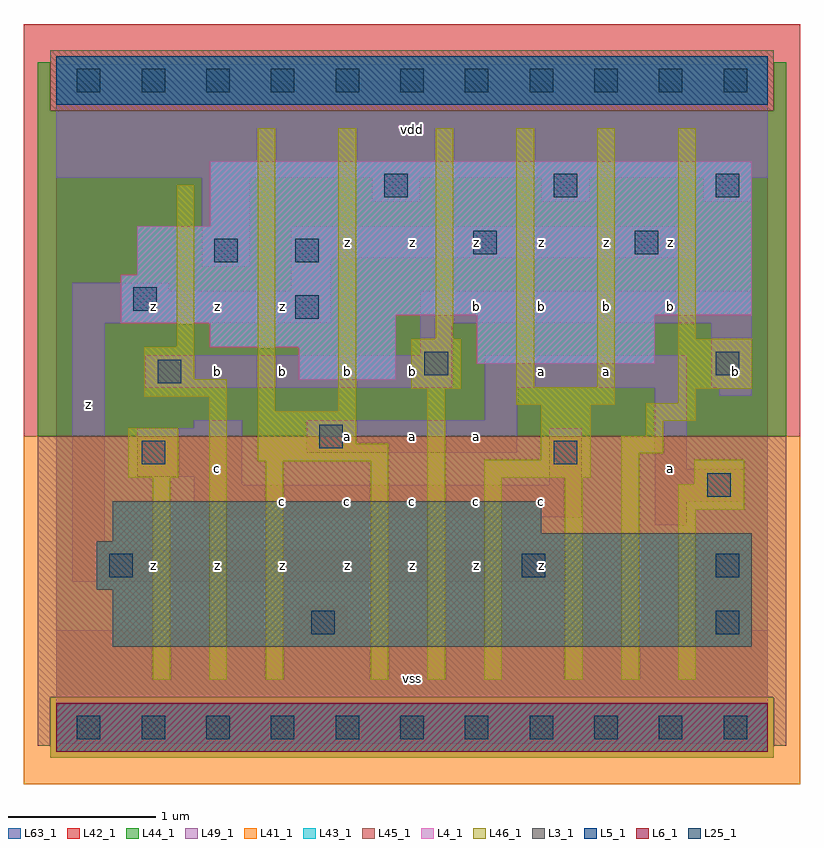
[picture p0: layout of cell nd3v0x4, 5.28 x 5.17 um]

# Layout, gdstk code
import gdstk
lib = gdstk.Library(unit=1e-6, precision=1e-09)
def R(c, l, rs):  # rectangles x0, y0, x1, y1
    for r in rs: c.add(gdstk.rectangle(r[:2], r[2:], *l))
def A(c, l, x, y, w, h, nx, ny, dx, dy):  # array of equal rectangles
    R(c, l, [(x+i*dx, y+j*dy, x+i*dx+w, y+j*dy+h) for i in range(nx) for j in range(ny)])
L3_1 = (3, 1)
L4_1 = (4, 1)
L5_1 = (5, 1)
L6_1 = (6, 1)
L25_1 = (25, 1)
L41_1 = (41, 1)
L42_1 = (42, 1)
L43_1 = (43, 1)
L44_1 = (44, 1)
L45_1 = (45, 1)
L46_1 = (46, 1)
L49_1 = (49, 1)
L63_1 = (63, 1)

nd3v0x4 = lib.new_cell('nd3v0x4')
R(nd3v0x4, L3_1, [(0.385,0.55,4.73,0.935), (0.275,0.935,4.73,1.265), (0.385,1.265,4.73,1.32), (0.385,1.32,3.3,1.54)])
R(nd3v0x4, L4_1, [(1.65,2.365,2.31,2.585), (2.86,2.475,4.07,2.805), (1.045,2.585,2.31,2.75), (0.44,2.75,2.31,2.805), (0.44,2.805,4.73,3.08), (0.55,3.08,4.73,3.41), (1.045,3.41,4.73,3.85)])
R(nd3v0x4, L5_1, [(0,4.235,4.84,4.565)])
R(nd3v0x4, L6_1, [(0,-0.165,4.84,0.165)])
A(nd3v0x4, L25_1, 0.14, -0.08, 0.16, 0.16, 11, 2, 0.44, 4.4)
R(nd3v0x4, L25_1, [(1.735,0.635,1.895,0.795), (4.485,0.635,4.645,0.795), (0.36,1.02,0.52,1.18), (3.165,1.02,3.325,1.18), (4.485,1.02,4.645,1.18), (4.43,1.57,4.59,1.73), (0.58,1.79,0.74,1.95), (3.385,1.79,3.545,1.95), (1.79,1.9,1.95,2.06), (0.69,2.34,0.85,2.5), (2.505,2.395,2.665,2.555), (4.485,2.395,4.645,2.555), (1.625,2.78,1.785,2.94), (0.525,2.835,0.685,2.995), (1.075,3.165,1.235,3.325), (1.625,3.165,1.785,3.325), (2.835,3.22,2.995,3.38), (3.935,3.22,4.095,3.38), (2.23,3.605,2.39,3.765), (3.385,3.605,3.545,3.765), (4.485,3.605,4.645,3.765)])
R(nd3v0x4, L41_1, [(-0.22,-0.385,5.06,1.98)])
R(nd3v0x4, L42_1, [(-0.22,1.98,5.06,4.785)])
R(nd3v0x4, L43_1, [(0,-0.165,4.84,0.165), (0.385,0.55,4.73,0.935), (0.275,0.935,4.73,1.265), (0.385,1.265,4.73,1.32), (0.385,1.32,3.3,1.54), (1.65,2.365,2.31,2.585), (2.86,2.475,4.07,2.805), (1.045,2.585,2.31,2.75), (0.44,2.75,2.31,2.805), (0.44,2.805,4.73,3.08), (0.55,3.08,4.73,3.41), (1.045,3.41,4.73,3.85), (0,4.235,4.84,4.565)])
R(nd3v0x4, L44_1, [(-0.04,-0.205,4.88,0.205), (-0.125,1.98,4.965,4.195), (-0.125,4.195,-0.04,4.525), (4.88,4.195,4.965,4.525)])
R(nd3v0x4, L45_1, [(-0.125,-0.125,-0.04,0.205), (4.88,-0.125,4.965,0.205), (-0.125,0.205,4.965,1.98), (-0.04,4.195,4.88,4.605)])
R(nd3v0x4, L46_1, [(0.655,0.325,0.775,1.7), (1.04,0.325,1.16,2.25), (1.425,0.325,1.545,1.81), (2.14,0.325,2.26,1.81), (2.525,0.325,2.645,2.305), (2.91,0.325,3.03,1.7), (3.46,0.325,3.58,1.7), (3.845,0.325,3.965,1.865), (4.23,0.325,4.35,1.48), (4.23,1.48,4.68,1.655), (4.34,1.655,4.68,1.82), (0.49,1.7,0.83,2.04), (2.91,1.7,3.635,1.82), (1.37,1.81,2.26,1.93), (3.295,1.82,3.635,2.195), (3.845,1.865,4.13,1.985), (1.37,1.93,2.04,2.15), (4.01,1.985,4.13,2.085), (4.01,2.085,4.35,2.205), (1.37,2.15,1.49,4.075), (1.92,2.15,2.04,4.075), (3.13,2.195,3.8,2.315), (4.23,2.205,4.35,2.305), (0.6,2.25,1.16,2.37), (2.415,2.305,2.755,2.645), (4.23,2.305,4.735,2.645), (3.13,2.315,3.25,4.075), (3.68,2.315,3.8,4.075), (0.6,2.37,0.94,2.59), (0.82,2.59,0.94,3.69), (2.58,2.645,2.7,4.075), (4.23,2.645,4.35,4.075)])
R(nd3v0x4, L49_1, [(0,-0.11,4.84,0.66), (1.65,0.66,1.98,0.825), (4.4,0.66,4.73,1.21), (0.11,0.99,3.465,1.21), (0.11,1.21,0.33,2.75), (4.07,1.375,4.29,1.54), (0.935,1.43,3.575,1.65), (4.07,1.54,4.675,1.76), (0.935,1.65,1.265,1.705), (3.355,1.65,3.575,2.035), (0.55,1.705,1.265,2.035), (4.07,1.76,4.29,2.31), (1.705,1.87,3.135,2.09), (0.935,2.035,1.265,2.09), (2.915,2.09,3.135,2.31), (4.51,2.255,4.73,2.31), (0.605,2.31,2.695,2.53), (2.915,2.31,4.29,2.53), (4.455,2.31,4.73,2.75), (2.475,2.53,2.695,2.75), (0.11,2.75,1.87,2.97), (2.475,2.75,4.73,2.97), (0.11,2.97,0.77,3.025), (1.595,2.97,1.87,3.19), (0.99,3.135,1.32,3.74), (1.595,3.19,4.345,3.41), (2.145,3.575,2.475,3.74), (3.3,3.575,3.63,3.74), (4.4,3.575,4.73,3.74), (0,3.74,4.84,4.51)])
R(nd3v0x4, L63_1, [(0,0,4.84,4.4)])
nd3v0x4.add(gdstk.Label('z', (0.66,1.1), layer=49, texttype=1))
nd3v0x4.add(gdstk.Label('z', (0.22,2.2), layer=49, texttype=1))
nd3v0x4.add(gdstk.Label('z', (0.66,2.86), layer=49, texttype=1))
nd3v0x4.add(gdstk.Label('z', (1.1,1.1), layer=49, texttype=1))
nd3v0x4.add(gdstk.Label('z', (1.54,1.1), layer=49, texttype=1))
nd3v0x4.add(gdstk.Label('c', (1.54,1.54), layer=49, texttype=1))
nd3v0x4.add(gdstk.Label('c', (1.1,1.76), layer=49, texttype=1))
nd3v0x4.add(gdstk.Label('b', (1.1,2.42), layer=49, texttype=1))
nd3v0x4.add(gdstk.Label('b', (1.54,2.42), layer=49, texttype=1))
nd3v0x4.add(gdstk.Label('z', (1.1,2.86), layer=49, texttype=1))
nd3v0x4.add(gdstk.Label('z', (1.54,2.86), layer=49, texttype=1))
nd3v0x4.add(gdstk.Label('vss', (2.42,0.33), layer=49, texttype=1))
nd3v0x4.add(gdstk.Label('z', (1.98,1.1), layer=49, texttype=1))
nd3v0x4.add(gdstk.Label('c', (1.98,1.54), layer=49, texttype=1))
nd3v0x4.add(gdstk.Label('z', (2.42,1.1), layer=49, texttype=1))
nd3v0x4.add(gdstk.Label('c', (2.42,1.54), layer=49, texttype=1))
nd3v0x4.add(gdstk.Label('a', (1.98,1.98), layer=49, texttype=1))
nd3v0x4.add(gdstk.Label('b', (1.98,2.42), layer=49, texttype=1))
nd3v0x4.add(gdstk.Label('a', (2.42,1.98), layer=49, texttype=1))
nd3v0x4.add(gdstk.Label('b', (2.42,2.42), layer=49, texttype=1))
nd3v0x4.add(gdstk.Label('z', (1.98,3.3), layer=49, texttype=1))
nd3v0x4.add(gdstk.Label('z', (2.42,3.3), layer=49, texttype=1))
nd3v0x4.add(gdstk.Label('vdd', (2.42,4.07), layer=49, texttype=1))
nd3v0x4.add(gdstk.Label('z', (2.86,1.1), layer=49, texttype=1))
nd3v0x4.add(gdstk.Label('c', (2.86,1.54), layer=49, texttype=1))
nd3v0x4.add(gdstk.Label('z', (3.3,1.1), layer=49, texttype=1))
nd3v0x4.add(gdstk.Label('c', (3.3,1.54), layer=49, texttype=1))
nd3v0x4.add(gdstk.Label('a', (2.86,1.98), layer=49, texttype=1))
nd3v0x4.add(gdstk.Label('a', (3.3,2.42), layer=49, texttype=1))
nd3v0x4.add(gdstk.Label('a', (3.74,2.42), layer=49, texttype=1))
nd3v0x4.add(gdstk.Label('b', (3.3,2.86), layer=49, texttype=1))
nd3v0x4.add(gdstk.Label('b', (3.74,2.86), layer=49, texttype=1))
nd3v0x4.add(gdstk.Label('b', (2.86,2.86), layer=49, texttype=1))
nd3v0x4.add(gdstk.Label('z', (2.86,3.3), layer=49, texttype=1))
nd3v0x4.add(gdstk.Label('z', (3.3,3.3), layer=49, texttype=1))
nd3v0x4.add(gdstk.Label('z', (3.74,3.3), layer=49, texttype=1))
nd3v0x4.add(gdstk.Label('a', (4.18,1.76), layer=49, texttype=1))
nd3v0x4.add(gdstk.Label('b', (4.62,2.42), layer=49, texttype=1))
nd3v0x4.add(gdstk.Label('b', (4.18,2.86), layer=49, texttype=1))
nd3v0x4.add(gdstk.Label('z', (4.18,3.3), layer=49, texttype=1))

lib.write_gds('nd3v0x4.gds')
